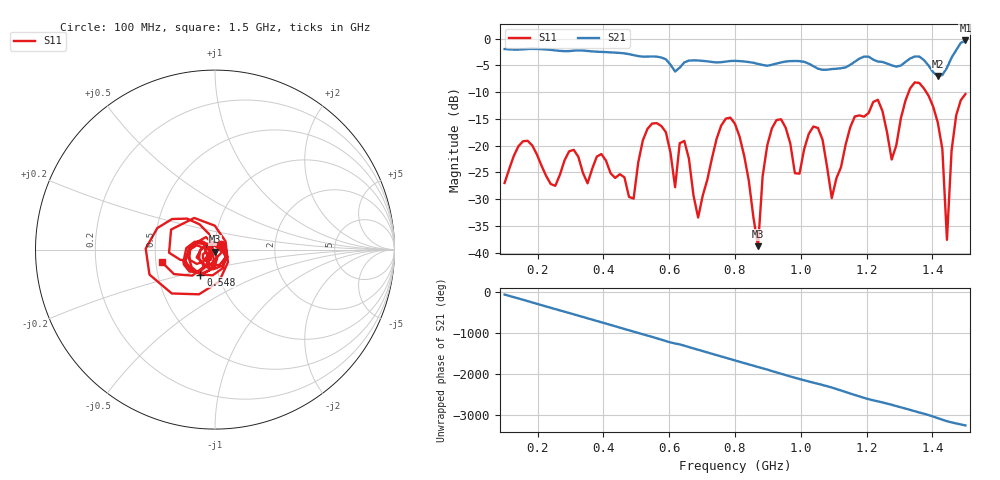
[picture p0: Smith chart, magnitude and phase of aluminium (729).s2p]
! NanoVNA-App
! Date: 2025-09-25 15:00:57
! Start: 100MHz Stop: 1,5GHz Points: 101
! S-Parameter data: F S11 S21 S12 S22
# Hz S RI R 50
!  Frequency  S11_Real  S11_Imag  S21_Real  S21_Imag  S12_Real  S12_Imag  S22_Real  S22_Imag
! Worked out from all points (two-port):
!   101 points, 100 MHz to 1.5 GHz, reference 50 ohm
!   highest |S21| = -0.32 dB at 1.5 GHz (marker M1); lowest = -7.0 dB at 1.416 GHz (marker M2)
!   |S21| within 3 dB of the highest: start of sweep to 516.9 MHz; 1.46 GHz to end of sweep (the widest 2 of 4)
!   lowest |S11| = -38.8 dB at 870 MHz (marker M3), VSWR 1.02, Z = 50 - j1.15 ohm
!   |S11| at or under -10 dB: start of sweep to 1.328 GHz; 1.381 GHz to end of sweep
!   S12 and S22 are empty: the file has one direction only
!   S11 on the Smith chart (normalised r, x): 100 MHz: 1.07, +0.06; 548 MHz: 0.82, -0.23; 1.5 GHz: 0.54, -0.08
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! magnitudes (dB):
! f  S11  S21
! 100 MHz  -27.0  -1.9
! 156 MHz  -19.2  -2.0
! 338 MHz  -25.1  -2.2
! 492 MHz  -29.9  -3.1
! 548 MHz  -15.9  -3.3
! 576 MHz  -16.3  -3.5
! 618 MHz  -27.8  -6.1
! 646 MHz  -19.1  -4.4
! 688 MHz  -33.4  -4.1
! 800 MHz  -15.9  -4.1
! 870 MHz  -38.8  -4.7
! 912 MHz  -16.8  -4.9
! 996 MHz  -25.2  -4.2
! 1.038 GHz  -16.4  -5.1
! 1.094 GHz  -29.8  -5.7
! 1.22 GHz  -11.8  -3.9
! 1.276 GHz  -22.6  -5.0
! 1.346 GHz  -8.2  -3.3
! 1.416 GHz  -15.6  -7.0
! 1.444 GHz  -37.6  -5.4
! 1.458 GHz  -20.9  -3.5
! 1.5 GHz  -10.4  -0.3
